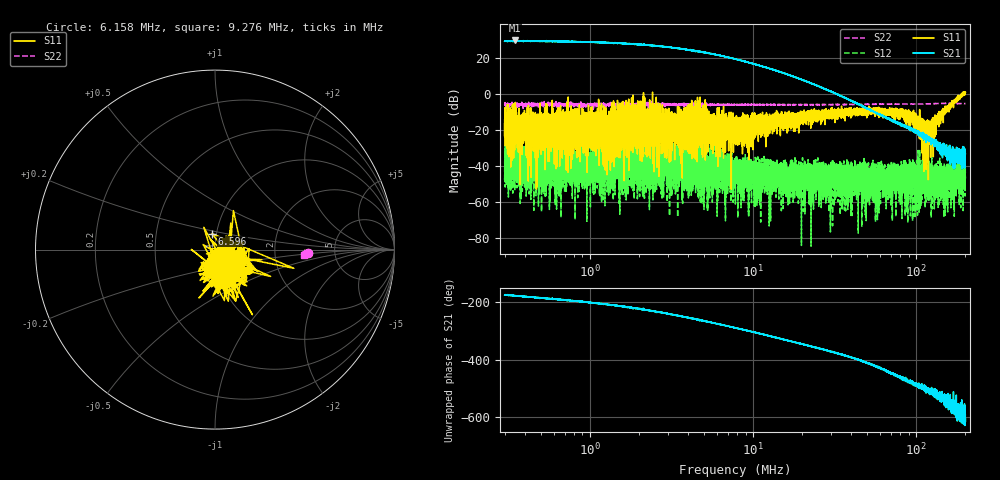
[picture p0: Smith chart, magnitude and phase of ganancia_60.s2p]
# Hz S DB R 50
! CMT, M5065, 19127446, 24.2.4/2
! Date: 11/1/2024 3:49:52 PM
! Data: Format (Calibration Info)
! Freq	S11:dB/Ang(F2)	S21:dB/Ang(F2)	S12:dB/Ang(F2)	S22:dB/Ang(F2)
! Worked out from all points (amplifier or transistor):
!   9000 points, 300 kHz to 200 MHz, reference 50 ohm
!   highest |S21| = 29.8 dB at 345.6 kHz (marker M1)
!   |S21| within 3 dB of that: start of sweep to 2.42 MHz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
!   unconditionally stable (mu >= 1): 5.175 MHz to 5.642 MHz; 6 MHz to 189.8 MHz; 191.2 MHz to 192.4 MHz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
!   at 886.8 kHz: K = 1.25, MAG = 30.8 dB, |S12| = -38.5 dB
!   at 7.749 MHz: K = 6.34, MAG = 20.8 dB, |S12| = -44.2 dB
!   at 200 MHz: K = -746.24, MSG = 6.8 dB, |S12| = -47.1 dB
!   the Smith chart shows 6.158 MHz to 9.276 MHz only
!   S11 on the Smith chart (normalised r, x): 6.158 MHz: 0.96, -0.39; 6.596 MHz: 0.95, +0.17; 9.276 MHz: 1.06, -0.22
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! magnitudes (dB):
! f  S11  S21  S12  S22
! 300 kHz  -14.7  29.3  -47.9  -5.8
! 311.3 kHz  -14.6  29.3  -37.5  -6.1
! 345.6 kHz  -7.0  29.8  -40.6  -6.0
! 467.9 kHz  -18.6  29.3  -39.0  -6.4
! 538.6 kHz  -8.9  29.6  -39.4  -6.2
! 886.8 kHz  -25.5  29.0  -38.5  -5.6
! 976.2 kHz  -34.5  28.9  -36.7  -5.6
! 1.53 MHz  -17.2  28.2  -43.0  -5.9
! 1.89 MHz  -16.5  27.8  -43.1  -6.3
! 2.621 MHz  -25.9  26.7  -44.1  -6.1
! 4.038 MHz  -29.3  24.5  -36.3  -5.9
! 4.609 MHz  -11.3  23.5  -43.8  -6.0
! 6.158 MHz  -14.2  21.6  -33.6  -5.7
! 6.596 MHz  -20.9  20.9  -38.5  -6.1
! 7.749 MHz  -16.8  19.5  -44.2  -6.0
! 9.276 MHz  -19.3  17.6  -44.3  -6.0
! 22.91 MHz  -13.9  5.7  -43.7  -5.9
! 67.71 MHz  -9.9  -13.8  -45.4  -5.7
! 95.02 MHz  -10.0  -20.0  -44.1  -5.7
! 115 MHz  -17.9  -24.7  -43.8  -5.5
! 166.7 MHz  -3.7  -32.3  -39.1  -5.3
! 200 MHz  0.8  -33.5  -47.1  -5.4
